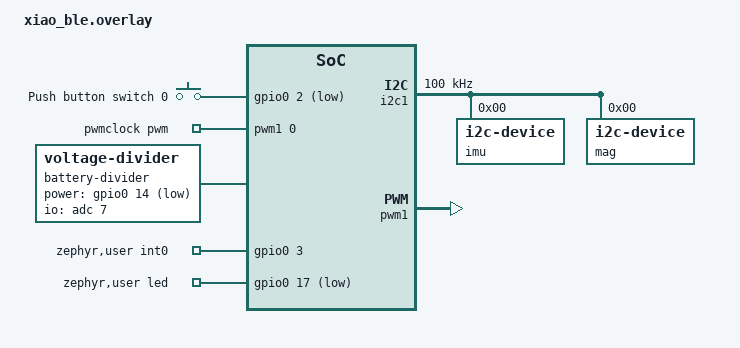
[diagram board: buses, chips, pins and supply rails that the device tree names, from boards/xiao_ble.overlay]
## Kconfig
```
#
# Copyright (c) 2023 Nordic Semiconductor
#
# SPDX-License-Identifier: LicenseRef-Nordic-5-Clause
#

config USE_SLIMENRF_CONSOLE
    bool "Use basic console"
    default y
    help
        Use basic console for commands.

choice
	prompt "Battery voltage mapping"
    default BATTERY_NO_MAPPING

config BATTERY_USE_REG_BUCK_MAPPING
    bool "Use buck regulator mapping (3.7V battery, DCDC)"
    help
      Use a constant power mapping for battery voltage.
      Preffered for systems with a buck regulator.
      Measured at a system voltage of 3.0V.

config BATTERY_USE_REG_LDO_MAPPING
    bool "Use LDO linear regulator mapping (3.7V battery, LDO)"
    help
      Use a constant current mapping for battery voltage.
      Preferred for systems with a linear regulator.

config BATTERY_NO_MAPPING
    bool "Disable battery voltage mapping"
    help
      Always map to 100% battery. Disables battery monitoring.

endchoice

choice
	prompt "Status LED color mapping"
    default LED_TRI_COLOR

config LED_RGB_COLOR
    bool "Use RGB color mapping"
    help
        Use RGB or RG color mapping for LED status if available.

config LED_TRI_COLOR
    bool "Use default color mapping"
    help
        Use the default color mapping for LED status.

endchoice

menu "Status LED default status color"
    depends on LED_RGB_COLOR

config LED_DEFAULT_COLOR_R
    int "Red value"
    range 0 10000
    default 4000
    depends on LED_RGB_COLOR
    help
        Red color for default status.
        Valid range is 0 to 10000.

config LED_DEFAULT_COLOR_G
    int "Green value"
    range 0 10000
    default 6000
    depends on LED_RGB_COLOR
    help
        Green color for default status.
        Valid range is 0 to 10000.

config LED_DEFAULT_COLOR_B
    int "Blue value"
    range 0 10000
    default 0
    depends on LED_RGB_COLOR
    help
        Blue color for default status.
        Valid range is 0 to 10000.

endmenu

config USER_EXTRA_ACTIONS
    bool "Multiple press actions"
    default y
    help
        Allow user to use multiple presses to calibrate, pair, or enter DFU.
        By default, pairing is available when holding down sw0 for 5 seconds.
        By default, DFU is available when holding down sw0 and plugging in a USB cable.

config IGNORE_RESET
    bool "Ignore reset"
    default y
    help
        If sw0 is available, don't perform any extra actions on reset.

config USER_SHUTDOWN
    bool "User shutdown support"
    default y
    help
        Allow user to use reset or sw0 to shutdown.

config USE_IMU_WAKE_UP
    bool "IMU wake up support"
    default y
    help
        Use IMU wake up state if IMU wake up is present.

config DELAY_SLEEP_ON_STATUS
    bool "Delay IMU wake up mode on status flags"
    default y
    depends on USE_IMU_WAKE_UP
    help
        Delay IMU wake up state if there is an active status flag or in pairing mode.

config WOM_USE_DCDC
    bool "Use DCDC in IMU wake up mode"
    depends on USE_IMU_WAKE_UP
    help
        Use DCDC instead of LDO in IMU wake up state if it is more efficient.

config CONNECTION_TIMEOUT_DELAY
    int "Connection timeout delay (ms)"
    default 300000
    depends on USER_SHUTDOWN
    help
        Connection timeout duration when receiver is not detected.

menu "Sensor power saving"

config SENSOR_LP_TIMEOUT
    int "Sensor low power delay (ms)"
    default 500
    help
        Low power timeout during no motion.

config SENSOR_USE_LOW_POWER_2
    bool "Use additional low power modes"
    help
        Use a higher latency sensor mode during no motion.

config USE_IMU_TIMEOUT
    bool "Use IMU wake up state"
    default y
    depends on USE_IMU_WAKE_UP
    help
        Use IMU wake up state during no motion.

config IMU_TIMEOUT_RAMP_MIN
    int "Sensor timeout minimum delay (ms)"
    default 5000
    depends on USE_IMU_TIMEOUT || SENSOR_USE_LOW_POWER_2
    help
        Minimum timeout during no motion. Initial period on wake up.

config IMU_TIMEOUT_RAMP_MAX
    int "Sensor timeout maximum delay (ms)"
    default 15000
    depends on USE_IMU_TIMEOUT || SENSOR_USE_LOW_POWER_2
    help
        Maximum timeout during no motion.

config USE_ACTIVE_TIMEOUT
    bool "Use activity timeout"
    default y
    depends on USE_IMU_WAKE_UP || USER_SHUTDOWN
    help
        Delay IMU wake up state or user shutdown during activity.

choice 
    prompt "Activity timeout mode"
    default SLEEP_ON_ACTIVE_TIMEOUT
    depends on USE_ACTIVE_TIMEOUT

config SLEEP_ON_ACTIVE_TIMEOUT
    bool "IMU wake up"
    depends on USE_IMU_WAKE_UP
    help
        Use IMU wake up state when activity timeout elapses.

config SHUTDOWN_ON_ACTIVE_TIMEOUT
    bool "User shutdown"
    depends on USER_SHUTDOWN
    help
        Use user shutdown when activity timeout elapses.

endchoice

config ACTIVE_TIMEOUT_THRESHOLD
    int "Activity timeout threshold (ms)"
    default 15000
    depends on USE_ACTIVE_TIMEOUT
    help
        Trigger activity timeout after a certain threshold of activity.

config ACTIVE_TIMEOUT_DELAY
    int "Activity timeout delay (ms)"
    default 900000
    depends on USE_ACTIVE_TIMEOUT
    help
        Activity timeout duration when triggered.

endmenu

config SENSOR_ACCEL_ODR
    int "Accelerometer output data rate (Hz)"
    default 100
    help
        Requested accelerometer output data rate. Actual rate will be raised to the nearest supported rate.
        A higher rate will increase the time to read and process sensor data.

config SENSOR_GYRO_ODR
    int "Gyrometer output data rate (Hz)"
    default 200
    help
        Requested gyrometer output data rate. Actual rate will be raised to the nearest supported rate.
        A higher rate will increase the time to read and process sensor data.
        A lower rate is recommended for IMUs with poor gyrometer rate noise density. (Ex. BMI270, LSM6DS3TR-C)

config SENSOR_ACCEL_FS
    int "Accelerometer full scale (g)"
    default 4
    help
        Requested accelerometer full scale. Actual scale will be raised to the nearest supported scale.
        A lower scale may improve noise performance, but is more likely to saturate.

config SENSOR_GYRO_FS
    int "Gyrometer full scale (dps)"
    default 1000
    help
        Requested gyrometer full scale. Actual scale will be raised to the nearest supported scale.
        A lower scale may improve noise performance, but is more likely to saturate.

config SENSOR_USE_MAG
    bool "Magnetometer support"
    default y
    help
        Use magnetometer if it is present.

config USE_SENSOR_CLOCK
    bool "Use external IMU clock"
    default y
    help
        Use external IMU clock if it is present.

choice
	prompt "Sensor fusion"
    default SENSOR_USE_VQF
    help
        Select the sensor fusion method.

config SENSOR_USE_XIOFUSION
    bool "Use x-io Technologies Fusion"
    help
        Use x-io Technologies Fusion for sensor fusion.
        Based on Madgwick filter.

config SENSOR_USE_VQF
    bool "Use VQF"
    help
        Use VQF for sensor fusion.
        Based on Kalman filter.

endchoice

config SENSOR_USE_6_SIDE_CALIBRATION
    bool "Use 6-side calibration"
    default y
    depends on USE_SLIMENRF_CONSOLE
    help
        Use 6-side calibration for accelerometer.
        Calibration can be completed through the basic console.

config RADIO_TX_POWER
    int "Radio output power (dBm)"
    default 8
    help
        Radio output power level.
        A lower value may reduce power consumption.

config CONNECTION_OVER_HID
    bool "Use HID for data output"
    default n
    help
        Use HID if available.
        Otherwise, use ESB only.

source "Kconfig.zephyr"
```

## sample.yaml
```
tests:
  common:
    platform_allow:
      - nrf52840dongle/nrf52840
    sysbuild: true
```

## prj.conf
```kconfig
#CONFIG_NCS_SAMPLES_DEFAULTS
CONFIG_ASSERT=y
CONFIG_ASSERT_NO_COND_INFO=y
CONFIG_ASSERT_NO_MSG_INFO=y
CONFIG_RESET_ON_FATAL_ERROR=y

CONFIG_NCS_APPLICATION_BOOT_BANNER_STRING="SlimeVR-Tracker-nRF"
#CONFIG_NCS_BOOT_BANNER=n
CONFIG_BOOT_BANNER=n

CONFIG_ESB=y
#need to enable for nRF54L
CONFIG_NRFX_DPPI10=y

CONFIG_ADC=y
CONFIG_ADC_NRFX_SAADC=y
CONFIG_FPU=y
CONFIG_I2C=y
CONFIG_SPI=y
CONFIG_PINCTRL=y

CONFIG_NVS=y
CONFIG_NVS_LOOKUP_CACHE=y
CONFIG_NVS_INIT_BAD_MEMORY_REGION=y

CONFIG_POWEROFF=y
CONFIG_REBOOT=y

CONFIG_FLASH=y
CONFIG_FLASH_PAGE_LAYOUT=y
CONFIG_FLASH_MAP=y

CONFIG_SETTINGS=y
CONFIG_SETTINGS_RUNTIME=y
CONFIG_SETTINGS_NONE=y

CONFIG_MPU_ALLOW_FLASH_WRITE=y

CONFIG_RETAINED_MEM=y

CONFIG_USE_SEGGER_RTT=y
CONFIG_LOG=y
#CONFIG_PRINTK=y
CONFIG_LOG_MODE_DEFERRED=y
CONFIG_LOG_SPEED=y
CONFIG_LOG_BACKEND_RTT=y
CONFIG_CBPRINTF_FP_SUPPORT=y
CONFIG_ADC_LOG_LEVEL_OFF=y
CONFIG_LOG_FUNC_NAME_PREFIX_ERR=y
CONFIG_LOG_BUFFER_SIZE=4096
CONFIG_LOG_BACKEND_UART_AUTOSTART=n
CONFIG_LOG_PROCESS_THREAD_SLEEP_MS=50
CONFIG_LOG_PROCESS_THREAD_STACK_SIZE=1024

CONFIG_PWM=y
CONFIG_GPIO=y

CONFIG_CRC=y

CONFIG_NEWLIB_LIBC=y
CONFIG_NRFX_TIMER1=y

#speed up boot? (use internal rc oscillator)
CONFIG_CLOCK_CONTROL_NRF_K32SRC_RC=y
CONFIG_CLOCK_CONTROL_NRF_K32SRC_RC_CALIBRATION=n
#speed up boot? (synthesize lf clock)
#CONFIG_CLOCK_CONTROL_NRF_K32SRC_SYNTH=y

# dont need it
CONFIG_CRYPTO=n

# set timeout for 25ms, sufficient for ~1000 bytes
CONFIG_I2C_NRFX_TRANSFER_TIMEOUT=25

CONFIG_USB_DEVICE_HID=y
CONFIG_USB_DEVICE_VID=0x1209
CONFIG_USB_DEVICE_PID=0x7692
CONFIG_USB_HID_BOOT_PROTOCOL=y
CONFIG_USB_DEVICE_INITIALIZE_AT_BOOT=n
CONFIG_USB_CDC_ACM=y
CONFIG_UART_INTERRUPT_DRIVEN=y
CONFIG_USB_WORKQUEUE_STACK_SIZE=512

CONFIG_SERIAL=y
CONFIG_CONSOLE=y
CONFIG_RTT_CONSOLE=y
CONFIG_UART_CONSOLE=y
CONFIG_UART_LINE_CTRL=y

CONFIG_LOG=y
CONFIG_USB_DRIVER_LOG_LEVEL_ERR=y
CONFIG_USB_DEVICE_LOG_LEVEL_ERR=y
CONFIG_USB_CDC_ACM_LOG_LEVEL_OFF=y

CONFIG_LOG_BACKEND_UART=y

CONFIG_CONSOLE_SUBSYS=y
CONFIG_CONSOLE_GETLINE=y

CONFIG_NVS_LOG_LEVEL_WRN=y
CONFIG_USB_HID_LOG_LEVEL_WRN=y

CONFIG_USB_DEVICE_SOF=y
CONFIG_USB_HID_REPORTS=256

#CONFIG_USB_HID_POLL_INTERVAL_MS=1
CONFIG_USB_HID_POLL_INTERVAL_MS=0
CONFIG_HID_INTERRUPT_EP_MPS=64
#CONFIG_ENABLE_HID_INT_OUT_EP=y

CONFIG_SYSTEM_WORKQUEUE_STACK_SIZE=256
CONFIG_MAIN_STACK_SIZE=512

CONFIG_THREAD_NAME=y

# TODO: because of icm426, this will break things and needs to be raised to at least 3k
CONFIG_HEAP_MEM_POOL_SIZE=2048
CONFIG_ISR_STACK_SIZE=1024

CONFIG_PM_DEVICE=y

# Enable multiple button press actions (calibrate, pair, DFU)
CONFIG_USER_EXTRA_ACTIONS=y
```

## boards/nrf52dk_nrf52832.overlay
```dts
&pwm0_default {
	group1 {
		psels = <NRF_PSEL(PWM_OUT0, 0, 13)>,
		<NRF_PSEL(PWM_OUT1, 0, 14)>,
		<NRF_PSEL(PWM_OUT2, 0, 15)>;
		nordic,drive-mode = <NRF_DRIVE_D0S1>;
		nordic,invert;
	};
};

&pwm0_sleep {
	group1 {
		psels = <NRF_PSEL(PWM_OUT0, 0, 13)>,
		<NRF_PSEL(PWM_OUT1, 0, 14)>,
		<NRF_PSEL(PWM_OUT2, 0, 15)>;
	};
};

/ {
	pwmleds {
		pwm_led1: pwm_led_1 {
			pwms = <&pwm0 1 PWM_MSEC(20) PWM_POLARITY_INVERTED>;
		};
		pwm_led2: pwm_led_2 {
			pwms = <&pwm0 2 PWM_MSEC(20) PWM_POLARITY_INVERTED>;
		};
	};
	
	battery-divider {
		compatible = "voltage-divider";
		status = "okay";
		io-channels = <&adc 12>;// Measure VDDHDIV5
		output-ohms = <1>;
		full-ohms = <2>;
	};
	
	aliases {
		pwm-led1 = &pwm_led1;
		pwm-led2 = &pwm_led2;
	};
};

&i2c0 {
	compatible = "nordic,nrf-twim";
	zephyr,concat-buf-size = <128>;// Optimizado para menor consumo y precisión
	zephyr,flash-buf-max-size = <128>;// Optimizado para menor consumo y precisión
	clock-frequency = <I2C_BITRATE_STANDARD>;// 100kHz para máxima precisión y batería
	
	imu: imu@0 {// any address out of range (00, 7f, etc. will search all addresses and stored address first if available, specify an address here to search first otherwise
		compatible = "i2c-device";
		label = "imu";
		reg = <0>;
	};
	
	mag: mag@0 {
		compatible = "i2c-device";
		label = "mag";
		reg = <0>;
	};
	
};

arduino_spi: &spi2 {
	imu_spi: imu_spi@0 {
		compatible = "vnd,spi-device";
		spi-max-frequency = <DT_FREQ_M(8)>;
		label = "imu-spi";
		reg = <0>;
	};
};
```

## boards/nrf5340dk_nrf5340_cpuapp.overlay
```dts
&pwm0_default {
	group1 {
		psels = <NRF_PSEL(PWM_OUT0, 0, 13)>,
		<NRF_PSEL(PWM_OUT1, 0, 14)>,
		<NRF_PSEL(PWM_OUT2, 0, 15)>;
		nordic,drive-mode = <NRF_DRIVE_D0S1>;
		nordic,invert;
	};
};

&pwm0_sleep {
	group1 {
		psels = <NRF_PSEL(PWM_OUT0, 0, 13)>,
		<NRF_PSEL(PWM_OUT1, 0, 14)>,
		<NRF_PSEL(PWM_OUT2, 0, 15)>;
	};
};

/ {
	chosen {
		zephyr,console = &cdc_acm_uart0;
		zephyr,shell-uart = &cdc_acm_uart0;
	};
	
	pwmleds {
		pwm_led1: pwm_led_1 {
			pwms = <&pwm0 1 PWM_MSEC(20) PWM_POLARITY_INVERTED>;
		};
		pwm_led2: pwm_led_2 {
			pwms = <&pwm0 2 PWM_MSEC(20) PWM_POLARITY_INVERTED>;
		};
	};
	
	battery-divider {
		compatible = "voltage-divider";
		status = "okay";
		io-channels = <&adc 12>;// Measure VDDHDIV5
		output-ohms = <1>;
		full-ohms = <2>;
	};
	
	aliases {
		pwm-led1 = &pwm_led1;
		pwm-led2 = &pwm_led2;
	};
};

&i2c0 {
	compatible = "nordic,nrf-twim";
	zephyr,concat-buf-size = <128>;// Optimizado para menor consumo y precisión
	zephyr,flash-buf-max-size = <128>;// Optimizado para menor consumo y precisión
	clock-frequency = <I2C_BITRATE_STANDARD>;// 100kHz para máxima precisión y batería
	
	imu: imu@0 {// any address out of range (00, 7f, etc. will search all addresses and stored address first if available, specify an address here to search first otherwise
		compatible = "i2c-device";
		label = "imu";
		reg = <0>;
	};
	
	mag: mag@0 {
		compatible = "i2c-device";
		label = "mag";
		reg = <0>;
	};
	
};

arduino_spi: &spi3 {
	imu_spi: imu_spi@0 {
		compatible = "vnd,spi-device";
		spi-max-frequency = <DT_FREQ_M(32)>;
		label = "imu-spi";
		reg = <0>;
	};
};

zephyr_udc0: &usbd {
	cdc_acm_uart0: cdc_acm_uart0 {
		compatible = "zephyr,cdc-acm-uart";
	};
};
```

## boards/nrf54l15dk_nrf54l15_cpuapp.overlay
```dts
&pinctrl {
	i2c0_default: i2c0_default {
		group1 {
			psels = <NRF_PSEL(TWIM_SDA, 1, 5)>,
			<NRF_PSEL(TWIM_SCL, 1, 7)>;
		};
	};
	
	i2c0_sleep: i2c0_sleep {
		group1 {
			psels = <NRF_PSEL(TWIM_SDA, 1, 5)>,
			<NRF_PSEL(TWIM_SCL, 1, 7)>;
			low-power-enable;
		};
	};
	
};

&pwm20_default {
	group1 {
		psels = <NRF_PSEL(PWM_OUT0, 1, 10)>,
		<NRF_PSEL(PWM_OUT1, 1, 14)>;
	};
};

&pwm20_sleep {
	group1 {
		psels = <NRF_PSEL(PWM_OUT0, 1, 10)>,
		<NRF_PSEL(PWM_OUT1, 1, 14)>;
	};
};

/ {
	pwmleds {
		pwm_led0: pwm_led_0 {
			pwms = <&pwm20 1 PWM_MSEC(20) PWM_POLARITY_NORMAL>;
		};
	};
	
	battery-divider {
		compatible = "voltage-divider";
		status = "okay";
		io-channels = <&adc 12>;// Measure VDDHDIV5
		output-ohms = <1>;
		full-ohms = <2>;
	};
};

&i2c20 {
	compatible = "nordic,nrf-twim";
	status = "okay";
	zephyr,concat-buf-size = <128>;// Optimizado para menor consumo y precisión
	zephyr,flash-buf-max-size = <128>;// Optimizado para menor consumo y precisión
	clock-frequency = <I2C_BITRATE_STANDARD>;// 100kHz para máxima precisión y batería
	pinctrl-0 = <&i2c0_default>;
	pinctrl-1 = <&i2c0_sleep>;
	pinctrl-names = "default", "sleep";
	
	imu: imu@0 {// any address out of range (00, 7f, etc. will search all addresses and stored address first if available, specify an address here to search first otherwise
		compatible = "i2c-device";
		label = "imu";
		reg = <0>;
	};
	
	mag: mag@0 {
		compatible = "i2c-device";
		label = "mag";
		reg = <0>;
	};
	
};

&uart20 {
	status = "disabled";
};
```

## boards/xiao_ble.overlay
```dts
&pinctrl {
	pwm1_default: pwm1_default {
		group1 {
			psels = <NRF_PIN_DISCONNECTED>;
		};
	};
	
	pwm1_sleep: pwm1_sleep {
		group1 {
			psels = <NRF_PIN_DISCONNECTED>;
			low-power-enable;
		};
	};
};

&i2c0_default {
	group1 {
		bias-disable;
	};
};

&i2c0_sleep {
	group1 {
		bias-disable;
	};
};

&i2c1_default {
	group1 {
		bias-disable;
	};
};

&i2c1_sleep {
	group1 {
		bias-disable;
	};
};

&pwm0_default {
	group1 {
		psels = <NRF_PSEL(PWM_OUT0, 0, 26)>,
		<NRF_PSEL(PWM_OUT1, 0, 30)>,
		<NRF_PSEL(PWM_OUT2, 0, 6)>;
		nordic,drive-mode = <NRF_DRIVE_D0S1>;
		nordic,invert;
	};
};

&pwm0_sleep {
	group1 {
		psels = <NRF_PSEL(PWM_OUT0, 0, 26)>,
		<NRF_PSEL(PWM_OUT1, 0, 30)>,
		<NRF_PSEL(PWM_OUT2, 0, 6)>;
	};
};

/ {
	pwmleds {
		pwm_led0: pwm_led_0 {
			pwms = <&pwm0 0 PWM_MSEC(1) PWM_POLARITY_INVERTED>;
		};
		pwm_led1: pwm_led_1 {
			pwms = <&pwm0 1 PWM_MSEC(1) PWM_POLARITY_INVERTED>;
		};
		pwm_led2: pwm_led_2 {
			pwms = <&pwm0 2 PWM_MSEC(1) PWM_POLARITY_INVERTED>;
		};
	};
	
	buttons {
		compatible = "gpio-keys";
		button0: button_0 {
			gpios = <&gpio0 2 (GPIO_PULL_UP | GPIO_ACTIVE_LOW)>;
			label = "Push button switch 0";
		};
	};
	
	aliases {
		sw0 = &button0;
		pwm-led1 = &pwm_led1;
		pwm-led2 = &pwm_led2;
	};
	
	pwmclock: pwmclock {
		compatible = "pwm-clock";
		#clock-cells = <1>;
		pwms = <&pwm1 0 PWM_HZ(32768) PWM_POLARITY_NORMAL>;
	};
	
	battery-divider {
		compatible = "voltage-divider";
		status = "okay";
		io-channels = <&adc 7>;
		output-ohms = <510000>;
		full-ohms = <(1000000+510000)>;
		power-gpios = <&gpio0 14 (GPIO_OPEN_DRAIN|GPIO_ACTIVE_LOW)>;
	};
	
	zephyr,user {
		int0-gpios = <&gpio0 3 0>;
		led-gpios = <&gpio0 17 (GPIO_OPEN_DRAIN|GPIO_ACTIVE_LOW)>;
		// clk-gpios = <&gpio0 28 GPIO_OPEN_DRAIN>; // Uncomment and set to correct pin if using an external clock (crystal oscillator)
	};
	
};

&i2c1 {
	compatible = "nordic,nrf-twim";
	zephyr,concat-buf-size = <128>;// Optimizado para menor consumo y precisión
	zephyr,flash-buf-max-size = <128>;// Optimizado para menor consumo y precisión
	clock-frequency = <I2C_BITRATE_STANDARD>;// 100kHz para máxima precisión y batería
	
	imu: imu@0 {// any address out of range (00, 7f, etc. will search all addresses and stored address first if available, specify an address here to search first otherwise
		compatible = "i2c-device";
		label = "imu";
		reg = <0>;
	};
	
	mag: mag@0 {
		compatible = "i2c-device";
		label = "mag";
		reg = <0>;
	};
	
};

&pwm1 {
	status = "okay";
	pinctrl-0 = <&pwm1_default>;
	pinctrl-1 = <&pwm1_sleep>;
	pinctrl-names = "default", "sleep";
};

&cryptocell {
	status = "disabled";
};

&nfct {
	status = "disabled";
};
```

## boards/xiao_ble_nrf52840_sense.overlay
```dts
&i2c0_default {
	group1 {
		bias-disable;
	};
};

&i2c0_sleep {
	group1 {
		bias-disable;
	};
};

&i2c1_default {
	group1 {
		bias-disable;
	};
};

&i2c1_sleep {
	group1 {
		bias-disable;
	};
};

&pwm0_default {
	group1 {
		psels = <NRF_PSEL(PWM_OUT0, 0, 26)>,
		<NRF_PSEL(PWM_OUT1, 0, 30)>,
		<NRF_PSEL(PWM_OUT2, 0, 6)>;
		nordic,drive-mode = <NRF_DRIVE_D0S1>;
		nordic,invert;
	};
};

&pwm0_sleep {
	group1 {
		psels = <NRF_PSEL(PWM_OUT0, 0, 26)>,
		<NRF_PSEL(PWM_OUT1, 0, 30)>,
		<NRF_PSEL(PWM_OUT2, 0, 6)>;
	};
};

/ {
	pwmleds {
		pwm_led0: pwm_led_0 {
			pwms = <&pwm0 0 PWM_MSEC(1) PWM_POLARITY_INVERTED>;
		};
		pwm_led1: pwm_led_1 {
			pwms = <&pwm0 1 PWM_MSEC(1) PWM_POLARITY_INVERTED>;
		};
		pwm_led2: pwm_led_2 {
			pwms = <&pwm0 2 PWM_MSEC(1) PWM_POLARITY_INVERTED>;
		};
	};
	
	lsm6ds3tr-c-en {
		startup-delay-us = <0>;
	};
	
	buttons {
		compatible = "gpio-keys";
		button0: button_0 {
			gpios = <&gpio0 2 (GPIO_PULL_UP | GPIO_ACTIVE_LOW)>;
			label = "Push button switch 0";
		};
	};
	
	aliases {
		sw0 = &button0;
		pwm-led1 = &pwm_led1;
		pwm-led2 = &pwm_led2;
	};
	
	battery-divider {
		compatible = "voltage-divider";
		status = "okay";
		io-channels = <&adc 7>;
		output-ohms = <510000>;
		full-ohms = <(1000000+510000)>;
		power-gpios = <&gpio0 14 (GPIO_OPEN_DRAIN|GPIO_ACTIVE_LOW)>;
	};
	
	zephyr,user {
		int0-gpios = <&gpio0 11 0>;
		led-gpios = <&gpio0 17 (GPIO_OPEN_DRAIN|GPIO_ACTIVE_LOW)>;
	};
	
};

&i2c0 {
	zephyr,concat-buf-size = <255>;// probable max for nrf52832
	zephyr,flash-buf-max-size = <255>;// probable max for nrf52832
	
	imu: imu@0 {// any address out of range (00, 7f, etc. will search all addresses and stored address first if available, specify an address here to search first otherwise
		compatible = "i2c-device";
		label = "imu";
		reg = <0>;
	};
	
};

&cryptocell {
	status = "disabled";
};

&nfct {
	status = "disabled";
};

&lsm6ds3tr_c {
	status = "disabled";
	/delete-property/ irq-gpios;
};
```

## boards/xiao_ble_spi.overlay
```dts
// XIAO BLE nRF52840 - SPI Configuration Overlay
// Este overlay configura la XIAO BLE para usar comunicación SPI con sensores IMU

&pinctrl {
	// Configuración SPI1 para XIAO BLE
	spi1_default: spi1_default {
		group1 {
			psels = <NRF_PSEL(SPIM_MISO, 1, 14)>,// Pin 7 (P1.14) - MISO
			<NRF_PSEL(SPIM_MOSI, 1, 15)>,// Pin 10 (P1.15) - MOSI
			<NRF_PSEL(SPIM_SCK, 1, 13)>;// Pin 8 (P1.13) - SCK
		};
	};
	
	spi1_sleep: spi1_sleep {
		group1 {
			psels = <NRF_PSEL(SPIM_MISO, 1, 14)>,// Pin 7 (P1.14) - MISO
			<NRF_PSEL(SPIM_MOSI, 1, 15)>,// Pin 10 (P1.15) - MOSI
			<NRF_PSEL(SPIM_SCK, 1, 13)>;// Pin 8 (P1.13) - SCK
			low-power-enable;
		};
	};
	
	// Configuración PWM (heredada del overlay base)
	pwm1_default: pwm1_default {
		group1 {
			psels = <NRF_PIN_DISCONNECTED>;
		};
	};
	
	pwm1_sleep: pwm1_sleep {
		group1 {
			psels = <NRF_PIN_DISCONNECTED>;
			low-power-enable;
		};
	};
};

// Deshabilitar I2C (no usado en configuración SPI)
&i2c0 {
	status = "disabled";
};

&i2c1 {
	status = "disabled";
};

// Configuración SPI1
&spi1 {
	compatible = "nordic,nrf-spim";
	status = "okay";
	max-frequency = <DT_FREQ_M(8)>;
	pinctrl-0 = <&spi1_default>;
	pinctrl-1 = <&spi1_sleep>;
	pinctrl-names = "default", "sleep";
	cs-gpios = <&gpio0 5 GPIO_ACTIVE_LOW>;// Pin 5 (P0.05) - CS
	
	imu_spi: imu_spi@0 {
		compatible = "vnd,spi-device";
		spi-max-frequency = <DT_FREQ_M(8)>;
		label = "imu-spi";
		reg = <0>;
	};
};

// Configuración PWM para LEDs internos
&pwm0_default {
	group1 {
		psels = <NRF_PSEL(PWM_OUT0, 0, 26)>,// LED Rojo
		<NRF_PSEL(PWM_OUT1, 0, 30)>,// LED Verde
		<NRF_PSEL(PWM_OUT2, 0, 6)>;// LED Azul
		nordic,drive-mode = <NRF_DRIVE_D0S1>;
		nordic,invert;
	};
};

&pwm0_sleep {
	group1 {
		psels = <NRF_PSEL(PWM_OUT0, 0, 26)>,// LED Rojo
		<NRF_PSEL(PWM_OUT1, 0, 30)>,// LED Verde
		<NRF_PSEL(PWM_OUT2, 0, 6)>;// LED Azul
	};
};

/ {
	// LEDs PWM internos
	pwmleds {
		pwm_led0: pwm_led_0 {
			pwms = <&pwm0 0 PWM_MSEC(1) PWM_POLARITY_INVERTED>;
		};
		pwm_led1: pwm_led_1 {
			pwms = <&pwm0 1 PWM_MSEC(1) PWM_POLARITY_INVERTED>;
		};
		pwm_led2: pwm_led_2 {
			pwms = <&pwm0 2 PWM_MSEC(1) PWM_POLARITY_INVERTED>;
		};
	};
	
	// Botón SW0
	buttons {
		compatible = "gpio-keys";
		button0: button_0 {
			gpios = <&gpio0 2 (GPIO_PULL_UP | GPIO_ACTIVE_LOW)>;// Pin 0 (P0.02)
			label = "Push button switch 0";
		};
	};
	
	// Aliases
	aliases {
		sw0 = &button0;
		pwm-led1 = &pwm_led1;
		pwm-led2 = &pwm_led2;
	};
	
	// Clock PWM (si se necesita)
	pwmclock: pwmclock {
		compatible = "pwm-clock";
		#clock-cells = <1>;
		pwms = <&pwm1 0 PWM_HZ(32768) PWM_POLARITY_NORMAL>;
	};
	
	// Monitor de batería
	battery-divider {
		compatible = "voltage-divider";
		status = "okay";
		io-channels = <&adc 7>;
		output-ohms = <510000>;
		full-ohms = <(1000000+510000)>;
		power-gpios = <&gpio0 14 (GPIO_OPEN_DRAIN|GPIO_ACTIVE_LOW)>;
	};
	
	// Configuración de usuario para interrupciones
	zephyr,user {
		int0-gpios = <&gpio0 3 0>;// Pin 1 (P0.03) para interrupción del IMU
		// Nota: P0.17 referenciado en overlay I2C no está disponible externamente en XIAO BLE
	};
};

// Configuración PWM1
&pwm1 {
	status = "okay";
	pinctrl-0 = <&pwm1_default>;
	pinctrl-1 = <&pwm1_sleep>;
	pinctrl-names = "default", "sleep";
};

// Deshabilitar módulos no utilizados para ahorrar energía
&cryptocell {
	status = "disabled";
};

&nfct {
	status = "disabled";
};
```

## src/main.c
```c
/*
	SlimeVR Code is placed under the MIT license
	Copyright (c) 2025 SlimeVR Contributors

	Permission is hereby granted, free of charge, to any person obtaining a copy
	of this software and associated documentation files (the "Software"), to deal
	in the Software without restriction, including without limitation the rights
	to use, copy, modify, merge, publish, distribute, sublicense, and/or sell
	copies of the Software, and to permit persons to whom the Software is
	furnished to do so, subject to the following conditions:

	The above copyright notice and this permission notice shall be included in
	all copies or substantial portions of the Software.

	THE SOFTWARE IS PROVIDED "AS IS", WITHOUT WARRANTY OF ANY KIND, EXPRESS OR
	IMPLIED, INCLUDING BUT NOT LIMITED TO THE WARRANTIES OF MERCHANTABILITY,
	FITNESS FOR A PARTICULAR PURPOSE AND NONINFRINGEMENT. IN NO EVENT SHALL THE
	AUTHORS OR COPYRIGHT HOLDERS BE LIABLE FOR ANY CLAIM, DAMAGES OR OTHER
	LIABILITY, WHETHER IN AN ACTION OF CONTRACT, TORT OR OTHERWISE, ARISING FROM,
	OUT OF OR IN CONNECTION WITH THE SOFTWARE OR THE USE OR OTHER DEALINGS IN
	THE SOFTWARE.
*/
#include "globals.h"
#include "system/system.h"
// #include "timer.h"
#include "connection/esb.h"
#include "sensor/sensor.h"

#include <zephyr/sys/reboot.h>

#define DFU_DBL_RESET_MEM 0x20007F7C
#define DFU_DBL_RESET_APP 0x4ee5677e

static uint32_t *dbl_reset_mem __attribute__((unused))
= ((uint32_t *)DFU_DBL_RESET_MEM);  // retained

LOG_MODULE_REGISTER(main, LOG_LEVEL_INF);

#if DT_NODE_HAS_PROP(DT_ALIAS(sw0), gpios)
#define BUTTON_EXISTS true
#endif

#define DFU_EXISTS CONFIG_BUILD_OUTPUT_UF2 || CONFIG_BOARD_HAS_NRF5_BOOTLOADER
#define ADAFRUIT_BOOTLOADER CONFIG_BUILD_OUTPUT_UF2

int main(void)
{
#if IGNORE_RESET && BUTTON_EXISTS
	bool reset_pin_reset = false;
#else
#ifdef NRF_RESET
	bool reset_pin_reset = NRF_RESET->RESETREAS & RESET_RESETREAS_RESETPIN_Msk;
	NRF_RESET->RESETREAS = NRF_RESET->RESETREAS;  // Clear RESETREAS
#else
	bool reset_pin_reset = NRF_POWER->RESETREAS & POWER_RESETREAS_RESETPIN_Msk;
	NRF_POWER->RESETREAS = NRF_POWER->RESETREAS;  // Clear RESETREAS
#endif
#endif

	set_led(SYS_LED_PATTERN_ON, SYS_LED_PRIORITY_BOOT);  // Boot LED

	uint8_t reboot_counter = reboot_counter_read();
	bool booting_from_shutdown
		= !reboot_counter
	   && (reset_pin_reset
		   || button_read());  // 0 means from user shutdown or failed ram validation

	/* if button is not held after booting from shutdown, power off again
	 * if button press is normal, continue boot
	 * if button is held for 5 seconds, reset pairing and continue boot
	 */

	if (button_read())
	{
		while (button_read())
		{
			if (k_uptime_get() > 1000)
			{
				set_led(SYS_LED_PATTERN_LONG, SYS_LED_PRIORITY_HIGHEST);
			}
			if (k_uptime_get() > 5000)
			{
				LOG_INF("Pairing requested");
				esb_reset_pair();
				break;
			}
			k_msleep(1);
		}
#if USER_SHUTDOWN_ENABLED
		if (k_uptime_get() < 50 && booting_from_shutdown)  // debounce
		{
			sys_request_system_off();
		}
#endif
		if (k_uptime_get() <= 5000)
		{
			set_led(SYS_LED_PATTERN_ONESHOT_POWERON, SYS_LED_PRIORITY_HIGHEST);
		}
		else
		{
			set_led(SYS_LED_PATTERN_OFF, SYS_LED_PRIORITY_HIGHEST);
		}
	}
	else if (booting_from_shutdown)
	{
		set_led(SYS_LED_PATTERN_ONESHOT_POWERON, SYS_LED_PRIORITY_BOOT);
	}

	bool docked = dock_read();

	uint8_t reset_mode = -1;

	if (reboot_counter == 0)
	{
		reboot_counter = 100;
	}
	else if (reboot_counter > 200)
	{
		reboot_counter = 200;  // How did you get here
	}
	reset_mode = reboot_counter - 100;
	if (reset_pin_reset && !docked)  // Count pin resets while not docked
	{
		reboot_counter++;
		reboot_counter_write(reboot_counter);
		LOG_INF("Reset count: %u", reboot_counter);
#if ADAFRUIT_BOOTLOADER               \
	&& !(                             \
		IGNORE_RESET && BUTTON_EXISTS \
	)  // Using Adafruit bootloader, skip DFU if reset button is in use
		(*dbl_reset_mem) = DFU_DBL_RESET_APP;  // Skip DFU
#endif
		k_msleep(1000);  // Wait before clearing counter and continuing
	}
	reboot_counter_write(100);
	if (!reset_pin_reset
		&& reset_mode == 0)  // Only need to check once, if the button is pressed again
							 // an interrupt is triggered from before
	{
		reset_mode = -1;  // Cancel reset_mode (shutdown)
	}

#if USER_SHUTDOWN_ENABLED
	bool charging = chg_read();
	bool charged = stby_read();
	bool plugged = vin_read();

	if (reset_mode == 0 && !booting_from_shutdown && !charging && !charged
		&& !plugged)  // Reset mode user shutdown, only if unplugged and undocked
	{
		sys_user_shutdown();
	}
#endif

	if (!booting_from_shutdown)  // ONESHOT_POWERON automatically sets LED off
	{
		set_led(SYS_LED_PATTERN_OFF, SYS_LED_PRIORITY_BOOT);
	}

	sys_reset_mode(reset_mode);

	return 0;
}
```

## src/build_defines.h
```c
/*
	SlimeVR Code is placed under the MIT license
	Copyright (c) 2025 SlimeVR Contributors

	Permission is hereby granted, free of charge, to any person obtaining a copy
	of this software and associated documentation files (the "Software"), to deal
	in the Software without restriction, including without limitation the rights
	to use, copy, modify, merge, publish, distribute, sublicense, and/or sell
	copies of the Software, and to permit persons to whom the Software is
	furnished to do so, subject to the following conditions:

	The above copyright notice and this permission notice shall be included in
	all copies or substantial portions of the Software.

	THE SOFTWARE IS PROVIDED "AS IS", WITHOUT WARRANTY OF ANY KIND, EXPRESS OR
	IMPLIED, INCLUDING BUT NOT LIMITED TO THE WARRANTIES OF MERCHANTABILITY,
	FITNESS FOR A PARTICULAR PURPOSE AND NONINFRINGEMENT. IN NO EVENT SHALL THE
	AUTHORS OR COPYRIGHT HOLDERS BE LIABLE FOR ANY CLAIM, DAMAGES OR OTHER
	LIABILITY, WHETHER IN AN ACTION OF CONTRACT, TORT OR OTHERWISE, ARISING FROM,
	OUT OF OR IN CONNECTION WITH THE SOFTWARE OR THE USE OR OTHER DEALINGS IN
	THE SOFTWARE.
*/
#include "app_version.h"
#include "sensor/sensors_enum.h"
#include "system/status.h"

#ifdef CONFIG_NCS_APPLICATION_BOOT_BANNER_STRING
#define FW_NAME CONFIG_NCS_APPLICATION_BOOT_BANNER_STRING
#else
#define FW_NAME "SlimeNRF Tracker"
#endif
#define FW_VERSION_MAJOR APP_VERSION_MAJOR
#define FW_VERSION_MINOR APP_VERSION_MINOR
#define FW_VERSION_PATCH APP_PATCHLEVEL

static uint8_t get_server_constant_imu_id(int id) __attribute__((unused));
static uint8_t get_server_constant_mag_id(int id) __attribute__((unused));
static uint8_t get_server_constant_tracker_status(int status) __attribute__((unused));

// constants from server, should include BoardType, MCUType, IMUType, MagType (not yet)
// https://github.com/SlimeVR/SlimeVR-Server/blob/main/server/core/src/main/java/dev/slimevr/tracking/trackers/udp/FirmwareConstants.kt
#define SVR_IMU_UNKNOWN 0
#define SVR_IMU_MPU9250 1
#define SVR_IMU_MPU6500 2
#define SVR_IMU_BNO080 3
#define SVR_IMU_BNO085 4
#define SVR_IMU_BNO055 5
#define SVR_IMU_MPU6050 6
#define SVR_IMU_BNO086 7
#define SVR_IMU_BMI160 8
#define SVR_IMU_ICM20948 9
#define SVR_IMU_ICM42688 10
#define SVR_IMU_BMI270 11
#define SVR_IMU_LSM6DS3TRC 12
#define SVR_IMU_LSM6DSV 13
#define SVR_IMU_LSM6DSO 14
#define SVR_IMU_LSM6DSR 15
#define SVR_IMU_ICM45686 16
#define SVR_IMU_ICM45605 17
#define SVR_IMU_ADC_RESISTANCE 18
#define SVR_IMU_DEV_RESERVED 250

#define SVR_BOARD_UNKNOWN 0
#define SVR_BOARD_SLIMEVR_LEGACY 1
#define SVR_BOARD_SLIMEVR_DEV 2
#define SVR_BOARD_NODEMCU 3
#define SVR_BOARD_CUSTOM 4
#define SVR_BOARD_WROOM32 5
#define SVR_BOARD_WEMOSD1MINI 6
#define SVR_BOARD_TTGO_TBASE 7
#define SVR_BOARD_ESP01 8
#define SVR_BOARD_SLIMEVR 9
#define SVR_BOARD_LOLIN_C3_MINI 10
#define SVR_BOARD_BEETLE32C32 11
#define SVR_BOARD_ES32C3DEVKITM1 12
#define SVR_BOARD_OWOTRACK 13
#define SVR_BOARD_WRANGLER 14
#define SVR_BOARD_MOCOPI 15
#define SVR_BOARD_WEMOSWROOM02 16
#define SVR_BOARD_XIAO_ESP32C3 17
#define SVR_BOARD_HARITORA 18
#define SVR_BOARD_ESP32C6DEVKITC1 19
#define SVR_BOARD_GLOVE_IMU_SLIMEVR_DEV 20
#define SVR_BOARD_DEV_RESERVED 250

#define SVR_MCU_UNKNOWN 0
#define SVR_MCU_ESP8266 1
#define SVR_MCU_ESP32 2
#define SVR_MCU_OWOTRACK_ANDROID 3
#define SVR_MCU_WRANGLER 4
#define SVR_MCU_OWOTRACK_IOS 5
#define SVR_MCU_ESP32_C3 6
#define SVR_MCU_MOCOPI 7
#define SVR_MCU_HARITORA 8
#define SVR_MCU_DEV_RESERVED 250

#define SVR_MAG_STATUS_NOT_SUPPORTED 0
#define SVR_MAG_STATUS_DISABLED 1
#define SVR_MAG_STATUS_ENABLED 2

// https://github.com/SlimeVR/SlimeVR-Server/blob/main/server/core/src/main/java/dev/slimevr/tracking/trackers/TrackerStatus.kt
#define SVR_STATUS_DISCONNECTED 0
#define SVR_STATUS_OK 1
#define SVR_STATUS_BUSY 2
#define SVR_STATUS_ERROR 3
#define SVR_STATUS_OCCLUDED 4
#define SVR_STATUS_TIMED_OUT 5

// does not exist in server enums yet
#if CONFIG_BOARD_NRF52840DONGLE
#define FW_BOARD 0
#elif CONFIG_BOARD_PROMICRO_UF2
#define FW_BOARD 0
#else
#define FW_BOARD 0
#endif

// does not exist in server enums yet
#if CONFIG_SOC_NRF54L15
#define FW_MCU 0
#elif CONFIG_SOC_NRF54L10
#define FW_MCU 0
#elif CONFIG_SOC_NRF54L05
#define FW_MCU 0
#elif CONFIG_SOC_NRF5340
#define FW_MCU 0
#elif CONFIG_SOC_NRF52840
#define FW_MCU 0
#elif CONFIG_SOC_NRF52833
#define FW_MCU 0
#elif CONFIG_SOC_NRF52820
#define FW_MCU 0
#elif CONFIG_SOC_NRF52811
#define FW_MCU 0
#elif CONFIG_SOC_NRF52810
#define FW_MCU 0
#elif CONFIG_SOC_NRF52832
#define FW_MCU 0
#elif CONFIG_SOC_NRF52805
#define FW_MCU 0
#else
#define FW_MCU 0
#endif

static uint8_t get_server_constant_imu_id(int id)
{
	switch (id)
	{
		case IMU_BMI160:
			return SVR_IMU_BMI160;
		case IMU_BMI270:
			return SVR_IMU_BMI270;
		case IMU_BMI323:
			return 0;
		case IMU_MPU6050:
			return SVR_IMU_MPU6050;
		case IMU_MPU6500:
			return SVR_IMU_MPU6500;
		case IMU_MPU9250:
			return SVR_IMU_MPU9250;
		case IMU_ICM20948:
			return SVR_IMU_ICM20948;
		case IMU_ICM42688:
			return SVR_IMU_ICM42688;
		case IMU_ICM45686:
			return SVR_IMU_ICM45686;
		case IMU_ISM330IS:
			return 0;
		case IMU_LSM6DS3:
			return 0;
		case IMU_LSM6DSM:
			return SVR_IMU_LSM6DS3TRC;
		case IMU_LSM6DSR:
			return SVR_IMU_LSM6DSR;
		case IMU_LSM6DSO:
			return SVR_IMU_LSM6DSO;
		case IMU_LSM6DST:
			return 0;
		case IMU_LSM6DSV:
			return SVR_IMU_LSM6DSV;
		case IMU_ISM330BX:
			return SVR_IMU_LSM6DSV;  // not really
		default:
			return SVR_IMU_UNKNOWN;
	}
}

// does not exist in server enums yet
#if CONFIG_SENSOR_USE_MAG
#define SVR_MAG_STATUS SVR_MAG_STATUS_ENABLED
#else
#define SVR_MAG_STATUS SVR_MAG_STATUS_DISABLED
#endif
static uint8_t get_server_constant_mag_id(int id)
{
	if (id < 0)
	{
		return SVR_MAG_STATUS_NOT_SUPPORTED;
	}
	else
	{
		return SVR_MAG_STATUS;  // TODO: toggle from server
	}
	//	switch (id)
	//	{
	//	case MAG_HMC5883L:
	//		return 0;
	//	case MAG_QMC5883L:
	//		return 0;
	//	case MAG_AK8963:
	//		return 0;
	//	case MAG_AK09916:
	//		return 0;
	//	case MAG_AK09940:
	//		return 0;
	//	case MAG_BMM150:
	//		return 0;
	//	case MAG_BMM350:
	//		return 0;
	//	case MAG_IST8306:
	//		return 0;
	//	case MAG_IST8308:
	//		return 0;
	//	case MAG_IST8320:
	//		return 0;
	//	case MAG_IST8321:
	//		return 0;
	//	case MAG_LIS2MDL:
	//		return 0;
	//	case MAG_LIS3MDL:
	//		return 0;
	//	case MAG_MMC34160PJ:
	//		return 0;
	//	case MAG_MMC3630KJ:
	//		return 0;
	//	case MAG_MMC5633NJL:
	//		return 0;
	//	case MAG_MMC5616WA:
	//		return 0;
	//	case MAG_MMC5983MA:
	//		return 0;
	//	default:
	//		return 0;
	//	}
}

static uint8_t get_server_constant_tracker_status(int status)
{
	if (status & (SYS_STATUS_SENSOR_ERROR | SYS_STATUS_SYSTEM_ERROR))
	{
		return SVR_STATUS_ERROR;
	}
	else
	{
		return SVR_STATUS_OK;
	}
}

// https://stackoverflow.com/questions/11697820/how-to-use-date-and-time-predefined-macros-in-as-two-integers-then-stri
#define COMPUTE_BUILD_YEAR                                                             \
	((__DATE__[7] - '0') * 1000 + (__DATE__[8] - '0') * 100 + (__DATE__[9] - '0') * 10 \
	 + (__DATE__[10] - '0'))

#define COMPUTE_BUILD_DAY \
	(((__DATE__[4] >= '0') ? (__DATE__[4] - '0') * 10 : 0) + (__DATE__[5] - '0'))

#define BUILD_MONTH_IS_JAN \
	(__DATE__[0] == 'J' && __DATE__[1] == 'a' && __DATE__[2] == 'n')
#define BUILD_MONTH_IS_FEB (__DATE__[0] == 'F')
#define BUILD_MONTH_IS_MAR \
	(__DATE__[0] == 'M' && __DATE__[1] == 'a' && __DATE__[2] == 'r')
#define BUILD_MONTH_IS_APR (__DATE__[0] == 'A' && __DATE__[1] == 'p')
#define BUILD_MONTH_IS_MAY \
	(__DATE__[0] == 'M' && __DATE__[1] == 'a' && __DATE__[2] == 'y')
#define BUILD_MONTH_IS_JUN \
	(__DATE__[0] == 'J' && __DATE__[1] == 'u' && __DATE__[2] == 'n')
#define BUILD_MONTH_IS_JUL \
	(__DATE__[0] == 'J' && __DATE__[1] == 'u' && __DATE__[2] == 'l')
#define BUILD_MONTH_IS_AUG (__DATE__[0] == 'A' && __DATE__[1] == 'u')
#define BUILD_MONTH_IS_SEP (__DATE__[0] == 'S')
#define BUILD_MONTH_IS_OCT (__DATE__[0] == 'O')
#define BUILD_MONTH_IS_NOV (__DATE__[0] == 'N')
#define BUILD_MONTH_IS_DEC (__DATE__[0] == 'D')

#define COMPUTE_BUILD_MONTH      \
	((BUILD_MONTH_IS_JAN)   ? 1  \
	 : (BUILD_MONTH_IS_FEB) ? 2  \
	 : (BUILD_MONTH_IS_MAR) ? 3  \
	 : (BUILD_MONTH_IS_APR) ? 4  \
	 : (BUILD_MONTH_IS_MAY) ? 5  \
	 : (BUILD_MONTH_IS_JUN) ? 6  \
	 : (BUILD_MONTH_IS_JUL) ? 7  \
	 : (BUILD_MONTH_IS_AUG) ? 8  \
	 : (BUILD_MONTH_IS_SEP) ? 9  \
	 : (BUILD_MONTH_IS_OCT) ? 10 \
	 : (BUILD_MONTH_IS_NOV) ? 11 \
	 : (BUILD_MONTH_IS_DEC) ? 12 \
							: /* error default */ 99)

#define COMPUTE_BUILD_HOUR ((__TIME__[0] - '0') * 10 + __TIME__[1] - '0')
#define COMPUTE_BUILD_MIN ((__TIME__[3] - '0') * 10 + __TIME__[4] - '0')
#define COMPUTE_BUILD_SEC ((__TIME__[6] - '0') * 10 + __TIME__[7] - '0')

#define BUILD_DATE_IS_BAD (__DATE__[0] == '?')

#define BUILD_YEAR ((BUILD_DATE_IS_BAD) ? 99 : COMPUTE_BUILD_YEAR)
#define BUILD_MONTH ((BUILD_DATE_IS_BAD) ? 99 : COMPUTE_BUILD_MONTH)
#define BUILD_DAY ((BUILD_DATE_IS_BAD) ? 99 : COMPUTE_BUILD_DAY)

#define BUILD_TIME_IS_BAD (__TIME__[0] == '?')

#define BUILD_HOUR ((BUILD_TIME_IS_BAD) ? 99 : COMPUTE_BUILD_HOUR)
#define BUILD_MIN ((BUILD_TIME_IS_BAD) ? 99 : COMPUTE_BUILD_MIN)
#define BUILD_SEC ((BUILD_TIME_IS_BAD) ? 99 : COMPUTE_BUILD_SEC)

#define BUILD_TIMESTAMP                                              \
	(((((((BUILD_YEAR - 2020) & 127) * 12 + (BUILD_MONTH & 15)) * 31 \
		+ (BUILD_DAY & 31))                                          \
		   * 24                                                      \
	   + (BUILD_HOUR & 24))                                          \
		  * 60                                                       \
	  + (BUILD_MIN & 60))                                            \
		 * 60                                                        \
	 + (BUILD_SEC & 60))

#define TOSTRING(x) STRINGIFY(x)

#define FW_STRING                                       \
	FW_NAME " " APP_VERSION_EXTENDED_STRING             \
			" "                                         \
			"(Commit " TOSTRING(                        \
				APP_BUILD_VERSION                       \
			) ", Build %d-%02d-%02d %02d:%02d:%02d)\n", \
		BUILD_YEAR, BUILD_MONTH, BUILD_DAY, BUILD_HOUR, BUILD_MIN, BUILD_SEC
```

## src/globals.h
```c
/*
	SlimeVR Code is placed under the MIT license
	Copyright (c) 2025 SlimeVR Contributors

	Permission is hereby granted, free of charge, to any person obtaining a copy
	of this software and associated documentation files (the "Software"), to deal
	in the Software without restriction, including without limitation the rights
	to use, copy, modify, merge, publish, distribute, sublicense, and/or sell
	copies of the Software, and to permit persons to whom the Software is
	furnished to do so, subject to the following conditions:

	The above copyright notice and this permission notice shall be included in
	all copies or substantial portions of the Software.

	THE SOFTWARE IS PROVIDED "AS IS", WITHOUT WARRANTY OF ANY KIND, EXPRESS OR
	IMPLIED, INCLUDING BUT NOT LIMITED TO THE WARRANTIES OF MERCHANTABILITY,
	FITNESS FOR A PARTICULAR PURPOSE AND NONINFRINGEMENT. IN NO EVENT SHALL THE
	AUTHORS OR COPYRIGHT HOLDERS BE LIABLE FOR ANY CLAIM, DAMAGES OR OTHER
	LIABILITY, WHETHER IN AN ACTION OF CONTRACT, TORT OR OTHERWISE, ARISING FROM,
	OUT OF OR IN CONNECTION WITH THE SOFTWARE OR THE USE OR OTHER DEALINGS IN
	THE SOFTWARE.
*/
#ifndef SLIMENRF_GLOBALS
#define SLIMENRF_GLOBALS

#include <zephyr/logging/log.h>

#include "retained.h"

#define USER_SHUTDOWN_ENABLED \
	CONFIG_USER_SHUTDOWN  // Allow user to use reset or sw0 to shutdown
#define MAG_ENABLED CONFIG_SENSOR_USE_MAG  // Use magnetometer if it is present
#define IGNORE_RESET \
	CONFIG_IGNORE_RESET  // If sw0 available, don't change any reset behavior
#define WOM_USE_DCDC \
	CONFIG_WOM_USE_DCDC  // Use DCDC instead of LDO for WOM if it is more efficient

/* Sensor gyroscope, accelerometer, and magnetometer axes should align to the IMU body
 * axes SENSOR_QUATERNION_CORRECTION should align the sensor to the device following
 * Android convention On flat surface / face up: Left from the perspective of the device
 * / right from your perspective is +X Front side (facing up) is +Z Mounted on body /
 * standing up: Top side of the device is +Y Front side (facing out) is +Z
 */

// Board-specific configurations
#if defined(CONFIG_BOARD_SLIMEVRMINI_P1_UF2) || defined(CONFIG_BOARD_SLIMEVRMINI_P2_UF2)
#define SENSOR_MAGNETOMETER_AXES_ALIGNMENT -mx, mz, -my
#define SENSOR_QUATERNION_CORRECTION 0.7071f, 0.7071f, 0.0f, 0.0f
#endif
#if defined(CONFIG_BOARD_SLIMEVRMINI_P4_UF2)
#define SENSOR_GYROSCOPE_AXES_ALIGNMENT gx, gy, gz
#define SENSOR_ACCELEROMETER_AXES_ALIGNMENT ax, ay, az
#define SENSOR_MAGNETOMETER_AXES_ALIGNMENT my, -mx, -mz
#define SENSOR_QUATERNION_CORRECTION 0.7071f, 0.0f, 0.0f, 0.7071f 
#endif

#if defined(CONFIG_BOARD_SLIMENRF_R1) || defined(CONFIG_BOARD_SLIMENRF_R2) || defined(CONFIG_BOARD_SLIMENRF_R3)
#define SENSOR_QUATERNION_CORRECTION 0.0f, 0.7071f, 0.7071f, 0.0f
#endif

// Default configurations if not defined by board-specific settings
#ifndef SENSOR_GYROSCOPE_AXES_ALIGNMENT
#define SENSOR_GYROSCOPE_AXES_ALIGNMENT \
	gx, gy, gz  // gyro axes alignment to sensor body
#endif
#ifndef SENSOR_ACCELEROMETER_AXES_ALIGNMENT
#define SENSOR_ACCELEROMETER_AXES_ALIGNMENT \
	ax, ay, az  // accel axes alignment to sensor body
#endif
#ifndef SENSOR_MAGNETOMETER_AXES_ALIGNMENT
#define SENSOR_MAGNETOMETER_AXES_ALIGNMENT \
	my, -mx, -mz  // mag axes alignment to sensor body
#endif
#ifndef SENSOR_QUATERNION_CORRECTION
#define SENSOR_QUATERNION_CORRECTION \
	1.0f, 0.0f, 0.0f, 0.0f  // correction quat for sensor to mounting orientation
#endif

#endif
```

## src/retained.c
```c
/*
 * Copyright (c) 2021 Nordic Semiconductor ASA
 *
 * SPDX-License-Identifier: Apache-2.0
 */

#include "retained.h"

#include <stdint.h>
#include <string.h>

#include <zephyr/kernel.h>
#include <zephyr/devicetree.h>
#include <zephyr/drivers/retained_mem.h>
#include <zephyr/sys/byteorder.h>
#include <zephyr/sys/crc.h>

#include "build_defines.h"

#if DT_NODE_HAS_STATUS_OKAY(DT_ALIAS(retainedmemdevice))
#define MEMORY_REGION DT_PARENT(DT_ALIAS(retainedmemdevice))
#else
#error "retained_mem region not defined"
#endif

struct retained_data *retained = (struct retained_data *)DT_REG_ADDR(MEMORY_REGION);

#define RETAINED_CRC_OFFSET offsetof(struct retained_data, crc)
#define RETAINED_CHECKED_SIZE (RETAINED_CRC_OFFSET + sizeof(retained->crc))

static uint64_t init_time;

static int retained_init(void)
{
	init_time = k_uptime_ticks();  // Get current uptime in ticks as soon as possible
	return 0;
}

// TODO: priority?
SYS_INIT(retained_init, APPLICATION, CONFIG_APPLICATION_INIT_PRIORITY);

bool retained_validate(void)
{
	NRF_STATIC_ASSERT(
		(RETAINED_CHECKED_SIZE <= 1024),
		"Retained data size exceeds 1 KB limit"
	);

	uint64_t now = init_time;
	//	uint64_t now = k_uptime_ticks(); // Get current uptime in ticks as soon as
	//possible

	/* The residue of a CRC is what you get from the CRC over the
	 * message catenated with its CRC.  This is the post-final-xor
	 * residue for CRC-32 (CRC-32/ISO-HDLC) which Zephyr calls
	 * crc32_ieee.
	 */
	const uint32_t residue = 0x2144df1c;
	uint32_t crc = crc32_ieee((const uint8_t *)retained, RETAINED_CHECKED_SIZE);
	bool valid = (crc == residue);

	/* Check the build timestamp of the firmware that last updated
	 * the retained data.
	 */
	valid &= (retained->build_timestamp == BUILD_TIMESTAMP);

	/* If the CRC isn't valid or the build timestamp is different
	 * from the current build timestamp, reset the retained data.
	 */
	if (!valid)
	{
		memset(retained, 0, sizeof(struct retained_data));
		retained->build_timestamp = BUILD_TIMESTAMP;
	}

	/* Reset to accrue runtime from this session. */
	retained->uptime_latest = now;
	retained->battery_uptime_latest = now;

	return valid;
}

void retained_update(void)
{
	uint64_t now = k_uptime_ticks();

	retained->uptime_sum += (now - retained->uptime_latest);
	retained->uptime_latest = now;

	uint32_t crc = crc32_ieee((const uint8_t *)retained, RETAINED_CRC_OFFSET);

	retained->crc = sys_cpu_to_le32(crc);
}
```

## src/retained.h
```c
/*
 * Copyright (c) 2021 Nordic Semiconductor ASA
 *
 * SPDX-License-Identifier: Apache-2.0
 */

#ifndef RETAINED_H_
#define RETAINED_H_

#include <stdbool.h>
#include <stddef.h>
#include <stdint.h>

struct retained_data
{
	/* The build version of the firmware that last updated the
	 * retained data.
	 */
	uint32_t build_timestamp;

	/* The uptime from the current session the last time the
	 * retained data was updated.
	 */
	uint64_t uptime_latest;

	/* Cumulative uptime from all previous sessions up through
	 * uptime_latest of this session.
	 */
	uint64_t uptime_sum;

	/* Battery statistics.  Tracking for discharge curve only begins
	 * after ~3% discharged.  If battery_pptt has changed significantly
	 * compared to min_battery_pptt since the last update,
	 * the statistics are cleared and may be saved to NVS.
	 */
	int16_t max_battery_pptt;
	int16_t min_battery_pptt;

	/* Battery uptime from last retained update */
	uint64_t battery_uptime_latest;

	/* Cumulative runtime */
	uint64_t battery_runtime_sum;

	/* Last interval stored in NVS */
	int16_t battery_pptt_saved;
	uint64_t battery_runtime_saved;

	/* Calibrated discharge curve */
	int16_t battery_pptt_curve[18];

	uint8_t reboot_counter;
	uint8_t paired_addr[8];

	uint8_t sensor_data[128];

	float accelBias[3];
	float gyroBias[3];
	float magBias[3];
	float magBAinv[4][3];
	float accBAinv[4][3];

	uint8_t fusion_id;  // fusion_data_stored
	uint8_t fusion_data[512];

	uint16_t imu_addr;
	uint16_t mag_addr;

	uint8_t imu_reg;
	uint8_t mag_reg;

	/* CRC used to validate the retained data.  This must be
	 * stored little-endian, and covers everything up to but not
	 * including this field.
	 */
	uint32_t crc;
};

/* Up to 1 KB of retained data allowed right now.
 */
#define RETAINED_SIZE (sizeof(struct retained_data))

/* For simplicity in the sample just allow anybody to see and
 * manipulate the retained state.
 */
extern struct retained_data *retained;

/* Check whether the retained data is valid, and if not reset it.
 *
 * @return true if and only if the data was valid and reflects state
 * from previous sessions.
 */
bool retained_validate(void);

/* Update any generic retained state and recalculate its checksum so
 * subsequent boots can verify the retained state.
 */
void retained_update(void);

#endif /* RETAINED_H_ */
```
